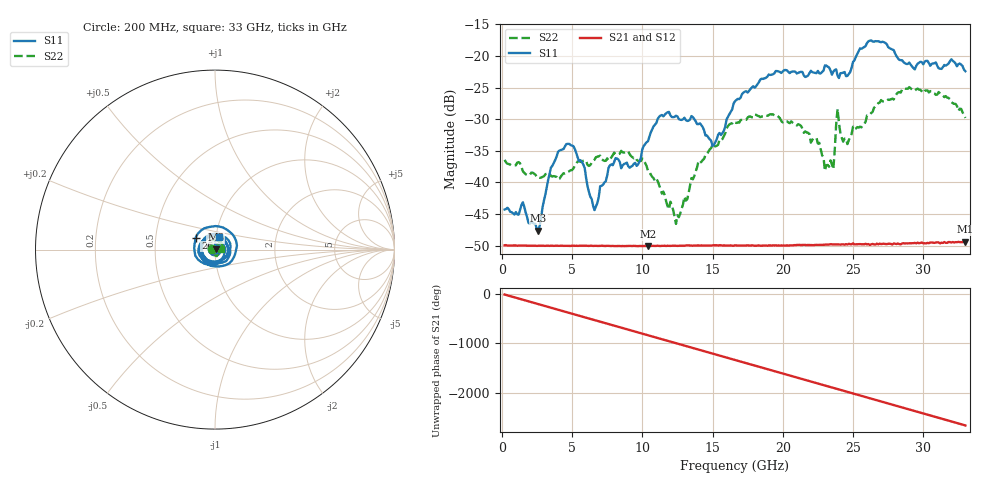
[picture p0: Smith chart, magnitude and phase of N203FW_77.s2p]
# GHZ S RI R 50
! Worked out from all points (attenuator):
!   329 points, 200 MHz to 33 GHz, reference 50 ohm
!   highest |S21| = -49.39 dB at 33 GHz (marker M1); lowest = -50.1 dB at 10.4 GHz (marker M2)
!   lowest |S11| = -47.6 dB at 2.6 GHz (marker M3), VSWR 1.01, Z = 50.4 + j0.106 ohm
!   |S11| at or under -10 dB: start of sweep to end of sweep
!   |S22| runs from -46.6 to -24.9 dB; largest |S21 - S12| = 8.8e-05
!   S11 on the Smith chart (normalised r, x): 200 MHz: 1.01, +0.00; 26 GHz: 0.80, +0.11; 33 GHz: 1.03, +0.15
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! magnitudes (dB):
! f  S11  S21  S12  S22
! 200 MHz  -44.3  -50.0  -49.9  -36.4
! 1.5 GHz  -43.2  -50.0  -50.0  -38.2
! 2.6 GHz  -47.6  -50.0  -50.0  -39.2
! 4 GHz  -35.2  -50.0  -50.0  -39.5
! 5.7 GHz  -36.7  -50.0  -50.0  -36.7
! 6.6 GHz  -44.4  -50.0  -50.0  -36.4
! 7.7 GHz  -37.3  -50.1  -50.1  -36.4
! 9.6 GHz  -37.4  -50.1  -50.1  -36.4
! 10.4 GHz  -33.5  -50.1  -50.1  -38.1
! 11.2 GHz  -29.6  -50.1  -50.0  -40.4
! 12.4 GHz  -29.5  -50.0  -50.0  -46.6
! 15 GHz  -34.3  -50.0  -50.0  -34.0
! 16.6 GHz  -27.2  -50.0  -50.0  -30.5
! 19.3 GHz  -22.9  -50.0  -50.0  -29.2
! 22.1 GHz  -22.6  -49.9  -49.9  -33.3
! 23.6 GHz  -22.5  -49.8  -49.8  -37.9
! 23.9 GHz  -23.1  -49.8  -49.8  -28.4
! 24.6 GHz  -23.2  -49.8  -49.8  -33.9
! 26 GHz  -17.9  -49.8  -49.8  -29.4
! 27.6 GHz  -18.8  -49.7  -49.7  -27.0
! 31.1 GHz  -22.0  -49.5  -49.3  -25.7
! 33 GHz  -22.4  -49.4  -49.4  -29.8
